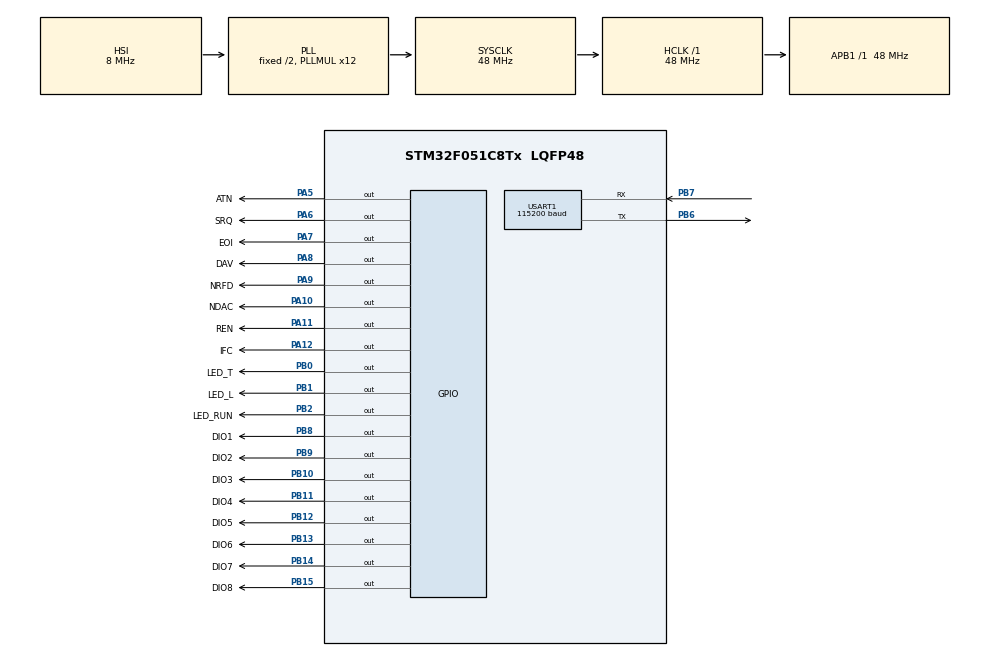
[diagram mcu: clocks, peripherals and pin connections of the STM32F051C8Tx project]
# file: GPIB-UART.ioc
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Mcu.Family=STM32F0
Mcu.Name=STM32F051C8Tx
Mcu.Package=LQFP48
NVIC.USART1_IRQn=true\:0\:0\:false\:false\:true\:true\:true
PA10.GPIO_Label=NDAC
PA10.GPIO_PuPd=GPIO_PULLUP
PA10.GPIO_Speed=GPIO_SPEED_FREQ_MEDIUM
PA10.PinState=GPIO_PIN_SET
PA10.Signal=GPIO_Output
PA11.GPIO_Label=REN
PA11.GPIO_PuPd=GPIO_PULLUP
PA11.GPIO_Speed=GPIO_SPEED_FREQ_MEDIUM
PA11.PinState=GPIO_PIN_SET
PA11.Signal=GPIO_Output
PA12.GPIO_Label=IFC
PA12.GPIO_PuPd=GPIO_PULLUP
PA12.GPIO_Speed=GPIO_SPEED_FREQ_MEDIUM
PA12.PinState=GPIO_PIN_SET
PA12.Signal=GPIO_Output
PA13.Mode=Serial_Wire
PA13.Signal=SYS_SWDIO
PA14.Mode=Serial_Wire
PA14.Signal=SYS_SWCLK
PA5.GPIO_Label=ATN
PA5.GPIO_PuPd=GPIO_PULLUP
PA5.GPIO_Speed=GPIO_SPEED_FREQ_MEDIUM
PA5.PinState=GPIO_PIN_SET
PA5.Signal=GPIO_Output
PA6.GPIO_Label=SRQ
PA6.GPIO_PuPd=GPIO_PULLUP
PA6.GPIO_Speed=GPIO_SPEED_FREQ_MEDIUM
PA6.PinState=GPIO_PIN_SET
PA6.Signal=GPIO_Output
PA7.GPIO_Label=EOI
PA7.GPIO_PuPd=GPIO_PULLUP
PA7.GPIO_Speed=GPIO_SPEED_FREQ_MEDIUM
PA7.PinState=GPIO_PIN_SET
PA7.Signal=GPIO_Output
PA8.GPIO_Label=DAV
PA8.GPIO_PuPd=GPIO_PULLUP
PA8.GPIO_Speed=GPIO_SPEED_FREQ_MEDIUM
PA8.PinState=GPIO_PIN_SET
PA8.Signal=GPIO_Output
PA9.GPIO_Label=NRFD
PA9.GPIO_PuPd=GPIO_PULLUP
PA9.GPIO_Speed=GPIO_SPEED_FREQ_MEDIUM
PA9.PinState=GPIO_PIN_SET
PA9.Signal=GPIO_Output
PB0.GPIO_Label=LED_T
PB0.Signal=GPIO_Output
PB1.GPIO_Label=LED_L
PB1.Signal=GPIO_Output
PB10.GPIO_Label=DIO3
PB10.GPIO_PuPd=GPIO_PULLUP
PB10.GPIO_Speed=GPIO_SPEED_FREQ_MEDIUM
PB10.PinState=GPIO_PIN_SET
PB10.Signal=GPIO_Output
PB11.GPIO_Label=DIO4
PB11.GPIO_PuPd=GPIO_PULLUP
PB11.GPIO_Speed=GPIO_SPEED_FREQ_MEDIUM
PB11.PinState=GPIO_PIN_SET
PB11.Signal=GPIO_Output
PB12.GPIO_Label=DIO5
PB12.GPIO_PuPd=GPIO_PULLUP
PB12.GPIO_Speed=GPIO_SPEED_FREQ_MEDIUM
PB12.PinState=GPIO_PIN_SET
PB12.Signal=GPIO_Output
PB13.GPIO_Label=DIO6
PB13.GPIO_PuPd=GPIO_PULLUP
PB13.GPIO_Speed=GPIO_SPEED_FREQ_MEDIUM
PB13.PinState=GPIO_PIN_SET
PB13.Signal=GPIO_Output
PB14.GPIO_Label=DIO7
PB14.GPIO_PuPd=GPIO_PULLUP
PB14.GPIO_Speed=GPIO_SPEED_FREQ_MEDIUM
PB14.PinState=GPIO_PIN_SET
PB14.Signal=GPIO_Output
PB15.GPIO_Label=DIO8
PB15.GPIO_PuPd=GPIO_PULLUP
PB15.GPIO_Speed=GPIO_SPEED_FREQ_MEDIUM
PB15.PinState=GPIO_PIN_SET
PB15.Signal=GPIO_Output
PB2.GPIO_Label=LED_RUN
PB2.Signal=GPIO_Output
PB6.Mode=Asynchronous
PB6.Signal=USART1_TX
PB7.Mode=Asynchronous
PB7.Signal=USART1_RX
PB8.GPIO_Label=DIO1
PB8.GPIO_PuPd=GPIO_PULLUP
PB8.GPIO_Speed=GPIO_SPEED_FREQ_MEDIUM
PB8.PinState=GPIO_PIN_SET
PB8.Signal=GPIO_Output
PB9.GPIO_FM9=__NULL
PB9.GPIO_Label=DIO2
PB9.GPIO_PuPd=GPIO_PULLUP
PB9.GPIO_Speed=GPIO_SPEED_FREQ_MEDIUM
PB9.PinState=GPIO_PIN_SET
PB9.Signal=GPIO_Output
ProjectManager.HeapSize=0x200
ProjectManager.StackSize=0x400
ProjectManager.TargetToolchain=MDK-ARM V5
RCC.AHBFreq_Value=48000000
RCC.APB1Freq_Value=48000000
RCC.APB1TimFreq_Value=48000000
RCC.HCLKFreq_Value=48000000
RCC.PLLMUL=RCC_PLL_MUL12
RCC.SYSCLKFreq_VALUE=48000000
RCC.SYSCLKSource=RCC_SYSCLKSOURCE_PLLCLK
USART1.BaudRate=115200
USART1.Parity=PARITY_NONE
USART1.VirtualMode-Asynchronous=VM_ASYNC
board=custom

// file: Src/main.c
/* USER CODE BEGIN Header */
/**
  ******************************************************************************
  * @file           : main.c
  * @brief          : Main program body
  ******************************************************************************
  * @attention
  *
  * <h2><center>&copy; Copyright (c) 2019 STMicroelectronics.
  * All rights reserved.</center></h2>
  *
  * This software component is licensed by ST under BSD 3-Clause license,
  * the "License"; You may not use this file except in compliance with the
  * License. You may obtain a copy of the License at:
  *                        opensource.org/licenses/BSD-3-Clause
  *
  ******************************************************************************
  */
/* USER CODE END Header */

#include "main.h"
#include "usart.h"
#include "gpio.h"

/* USER CODE BEGIN Includes */
#include "gpib_io.h"
#include "string.h"
#include "stdlib.h"
#include "shell.h"
#include "shell_ext.h"
/* USER CODE END Includes */

void SystemClock_Config(void);

/* USER CODE BEGIN 0 */

/**
  * @brief  us的延时，就直接死等
  * @param  nTime：多少个us
  * @retval None
  */
void delay_us(uint32_t nTime)
{
	uint32_t i;
	while(nTime)
	{
		nTime--;
		i=12;     //在48MHz下经过逻辑分析仪校准好的
		while(i)
		{
			i--;
		}
	}
}

/**
 * @brief 向GPIB设备写
 *
 */
int shell_gpib_write(int argc, char *argv[])
{
	char buf[128];
	int res = 0;
    SHELL_TypeDef *shell = shellGetCurrent();
    if (!shell)
    {
        return -1;
    }
	do{
		if(3 > argc)
		{
			shellDisplay(shell, "parameter error");
			res = -2;
			break;
		}
		memset(buf,0,sizeof(buf));
		for(uint8_t i=2;i<argc;i++)
		{
			strcat(buf, argv[i]);
			strcat(buf, " ");
		}
		int32_t addr = atoi(argv[1]);
		if((addr>30) || (addr<1))
		{
			shellDisplay(shell, "addr error");
			res = -3;
			break;
		}
		gpib_cmd(addr, 0); // talker, it's me.
		uint8_t len = strlen(buf);
		gpib_write(buf, len, GPIB_WRITE_USE_EOI);

	}while(0);
	return res;
}
SHELL_EXPORT_CMD_EX(wrt, shell_gpib_write, write to GPIB device, usage wrt <addr> <command>);

/**
 * @brief 测试GPIB设备读写稳定性
 *
 */
int shell_gpib_wrtest(int argc, char *argv[])
{
	int res = 0;
    SHELL_TypeDef *shell = shellGetCurrent();
    if (!shell)
    {
        return -1;
    }
	do{
		if((5 < argc)||(3 > argc))
		{
			shellDisplay(shell, "parameter error");
			res = -2;
			break;
		}
		int32_t addr = atoi(argv[1]);
		if((addr>30) || (addr<1))
		{
			shellDisplay(shell, "addr error");
			res = -3;
			break;
		}

		uint32_t count=10,interval=10;
		if(3 < argc)
		{
			for(uint8_t i=2;i<argc-1;i++)
			{
				char *p = strstr(argv[i], "--time=");
				if(NULL != p)
				{
					p = p+7;
					interval = atoi(p);
				}
				p = strstr(argv[i], "--count=");
				if(NULL != p)
				{
					p = p+8;
					count = atoi(p);
				}
			}
		}
		char buf[64];
		uint32_t cnt=0,cnt_fail=0;
		while(count--)
		{
			cnt++;
			if(0 != gpib_cmd(addr, 0)) // talker, it's me.
			{
				cnt_fail++;
				continue;
			}
			uint8_t len = strlen(argv[argc-1]);
			if(len != gpib_write(argv[argc-1], len, GPIB_WRITE_USE_EOI))
			{
				cnt_fail++;
				continue;
			}

			HAL_Delay(30);

			memset(buf, 0, sizeof(buf));
			if(0 != gpib_cmd(0, addr))// listener, it's me.
			{
				cnt_fail++;
				continue;
			}
			len = gpib_read(buf, GPIB_READ_UNTIL_EOI);
			if(0 == len)
			{
				cnt_fail++;
				continue;
			}
			if(0x0a == buf[len-1])
			{
				buf[len-1] = '\0';
			}
			shellPrint(shell, "count:%u - %s\r\n", cnt, buf);
			HAL_Delay(interval);
		}
		shellPrint(shell, "test failed : %u\r\n", cnt_fail);
		shellPrint(shell, "Yield       : %f\r\n", (float)(cnt-cnt_fail)/(float)cnt);
	}while(0);
	return res;
}
SHELL_EXPORT_CMD_EX(test, shell_gpib_wrtest, test the GPIB device write and read, usage test <addr> [options] <command>\r\n
--time   the interval time of two test\r\n
--count  the number of test times);

/**
 * @brief 从GPIB设备读
 *
 */
int shell_gpib_read(int argc, char *argv[])
{
	int res = 0;
	static char buf[64];
	uint8_t len;
    SHELL_TypeDef *shell = shellGetCurrent();
    if (!shell)
    {
        return -1;
    }
	do{
		if(2 != argc)
		{
			shellDisplay(shell, "parameter error");
			res = -2;
			break;
		}
		int32_t addr = atoi(argv[1]);
		if((addr>30) || (addr<1))
		{
			shellDisplay(shell, "addr error");
			res = -3;
			break;
		}
		memset(buf, 0, sizeof(buf));
		gpib_cmd(0, addr);// listener, it's me.
		len = gpib_read(buf, GPIB_READ_UNTIL_EOI);
		shellPrint(shell, "#%02u:%s", len, buf);
	}while(0);
	return res;

}
SHELL_EXPORT_CMD_EX(rd, shell_gpib_read, read from GPIB device, usage rd <addr>);

/* USER CODE END 0 */

int main(void)
{

  /* MCU Configuration--------------------------------------------------------*/

  /* Reset of all peripherals, Initializes the Flash interface and the Systick. */
  HAL_Init();

  /* Configure the system clock */
  SystemClock_Config();

  /* USER CODE BEGIN SysInit */
	SEGGER_RTT_Init();
	SYS_UsrLog("system start\r\n");
	SYS_UsrLog("complie time %s\r\n", __TIME__);
  /* USER CODE END SysInit */

  /* Initialize all configured peripherals */
  MX_GPIO_Init();
  MX_USART1_UART_Init();
  /* USER CODE BEGIN 2 */
	LL_GPIO_SetOutputPin(LED_T_GPIO_Port, LED_T_Pin);
	LL_GPIO_SetOutputPin(LED_L_GPIO_Port, LED_L_Pin);
	LL_GPIO_SetOutputPin(LED_RUN_GPIO_Port, LED_RUN_Pin);
	gpib_io_init();
	shell_init();
	LL_GPIO_ResetOutputPin(LED_T_GPIO_Port, LED_T_Pin);
	LL_GPIO_ResetOutputPin(LED_L_GPIO_Port, LED_L_Pin);
  /* USER CODE END 2 */

  /* Infinite loop */
  /* USER CODE BEGIN WHILE */
	while (1)
	{
		shell_exec();  //全部依靠shell控制

    /* USER CODE END WHILE */

	}
}

void SystemClock_Config(void)
{
  RCC_OscInitTypeDef RCC_OscInitStruct = {0};
  RCC_ClkInitTypeDef RCC_ClkInitStruct = {0};
  RCC_PeriphCLKInitTypeDef PeriphClkInit = {0};

  /** Initializes the CPU, AHB and APB busses clocks
  */
  RCC_OscInitStruct.OscillatorType = RCC_OSCILLATORTYPE_HSI;
  RCC_OscInitStruct.HSIState = RCC_HSI_ON;
  RCC_OscInitStruct.HSICalibrationValue = RCC_HSICALIBRATION_DEFAULT;
  RCC_OscInitStruct.PLL.PLLState = RCC_PLL_ON;
  RCC_OscInitStruct.PLL.PLLSource = RCC_PLLSOURCE_HSI;
  RCC_OscInitStruct.PLL.PLLMUL = RCC_PLL_MUL12;
  RCC_OscInitStruct.PLL.PREDIV = RCC_PREDIV_DIV1;
  if (HAL_RCC_OscConfig(&RCC_OscInitStruct) != HAL_OK)
  {
    Error_Handler();
  }
  /** Initializes the CPU, AHB and APB busses clocks
  */
  RCC_ClkInitStruct.ClockType = RCC_CLOCKTYPE_HCLK|RCC_CLOCKTYPE_SYSCLK
                              |RCC_CLOCKTYPE_PCLK1;
  RCC_ClkInitStruct.SYSCLKSource = RCC_SYSCLKSOURCE_PLLCLK;
  RCC_ClkInitStruct.AHBCLKDivider = RCC_SYSCLK_DIV1;
  RCC_ClkInitStruct.APB1CLKDivider = RCC_HCLK_DIV1;

  if (HAL_RCC_ClockConfig(&RCC_ClkInitStruct, FLASH_LATENCY_1) != HAL_OK)
  {
    Error_Handler();
  }
  PeriphClkInit.PeriphClockSelection = RCC_PERIPHCLK_USART1;
  PeriphClkInit.Usart1ClockSelection = RCC_USART1CLKSOURCE_PCLK1;
  if (HAL_RCCEx_PeriphCLKConfig(&PeriphClkInit) != HAL_OK)
  {
    Error_Handler();
  }
}

void Error_Handler(void)
{
}

/************************ (C) COPYRIGHT STMicroelectronics *****END OF FILE****/
